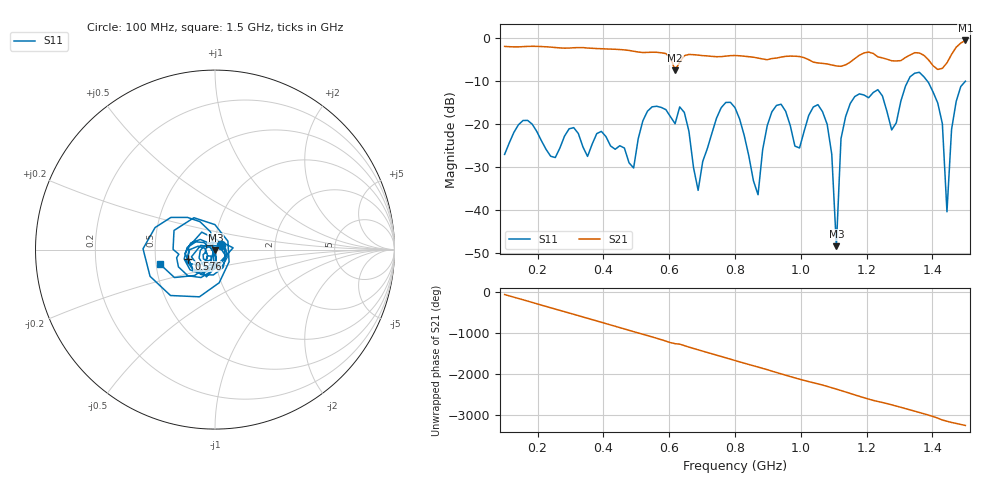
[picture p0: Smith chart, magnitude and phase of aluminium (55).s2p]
! NanoVNA-App
! Date: 2025-09-25 14:55:42
! Start: 100MHz Stop: 1,5GHz Points: 101
! S-Parameter data: F S11 S21 S12 S22
# Hz S RI R 50
!  Frequency  S11_Real  S11_Imag  S21_Real  S21_Imag  S12_Real  S12_Imag  S22_Real  S22_Imag
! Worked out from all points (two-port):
!   101 points, 100 MHz to 1.5 GHz, reference 50 ohm
!   highest |S21| = -0.54 dB at 1.5 GHz (marker M1); lowest = -7.4 dB at 618 MHz (marker M2)
!   |S21| within 3 dB of the highest: start of sweep to 586.4 MHz; 1.46 GHz to end of sweep (the widest 2 of 4)
!   lowest |S11| = -48.3 dB at 1.108 GHz (marker M3), VSWR 1.01, Z = 50.2 - j0.328 ohm
!   |S11| at or under -10 dB: start of sweep to 1.325 GHz; 1.385 GHz to end of sweep
!   S12 and S22 are empty: the file has one direction only
!   S11 on the Smith chart (normalised r, x): 100 MHz: 1.07, +0.06; 576 MHz: 0.74, -0.08; 1.5 GHz: 0.53, -0.10
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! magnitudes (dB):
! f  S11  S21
! 100 MHz  -27.0  -1.9
! 338 MHz  -25.3  -2.2
! 492 MHz  -30.2  -3.0
! 576 MHz  -16.1  -3.4
! 618 MHz  -19.9  -7.4
! 646 MHz  -17.3  -4.1
! 688 MHz  -35.4  -3.9
! 800 MHz  -16.1  -4.0
! 870 MHz  -36.4  -4.6
! 912 MHz  -17.1  -4.7
! 996 MHz  -25.5  -4.3
! 1.038 GHz  -16.0  -5.6
! 1.08 GHz  -20.0  -6.0
! 1.108 GHz  -48.3  -6.5
! 1.122 GHz  -23.4  -6.5
! 1.15 GHz  -15.2  -5.6
! 1.276 GHz  -21.3  -5.3
! 1.388 GHz  -10.3  -5.1
! 1.43 GHz  -19.9  -7.0
! 1.444 GHz  -40.3  -5.7
! 1.458 GHz  -21.2  -3.8
! 1.5 GHz  -10.0  -0.5
